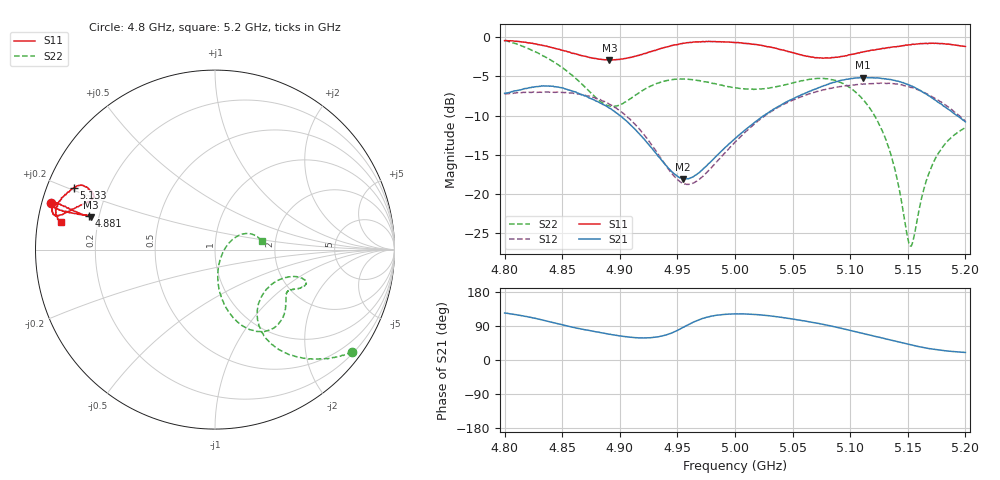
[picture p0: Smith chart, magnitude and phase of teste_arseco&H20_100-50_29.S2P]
! Network Analyzer HP8722D
! Hewlett-Packard
! Data name: Linha & Wilkinson
! Saver's name: Rodrigo Anjos
! Comments: Teste da utilização de aquisição
! continua pelo VNA HP8722D
! Time and date: 6/5/2025 12:48
!  Frequency  S11  S21  S12  S22
# HZ  S  MA R 50
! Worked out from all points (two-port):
!   401 points, 4.8 GHz to 5.2 GHz, reference 50 ohm
!   highest |S21| = -5.15 dB at 5.111 GHz (marker M1); lowest = -18.1 dB at 4.955 GHz (marker M2)
!   |S21| within 3 dB of the highest: start of sweep to 4.88 GHz; 5.046 GHz to 5.175 GHz (128.9 MHz wide, 2.52 % of centre)
!   lowest |S11| = -2.9 dB at 4.891 GHz (marker M3), VSWR 6.01, Z = 8.45 + j6.28 ohm
!   |S11| at or under -10 dB: nowhere
!   |S22| runs from -26.6 to -0.4 dB; largest |S21 - S12| = 0.71
!   S11 on the Smith chart (normalised r, x): 4.8 GHz: 0.03, +0.14; 4.881 GHz: 0.16, +0.13; 5.133 GHz: 0.08, +0.21; 5.2 GHz: 0.07, +0.09
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4.8e9  0.9513 164.3  0.4393 124.0  0.4339 19.1  0.9536 -36.6
4.833e9  0.8861 165.6  0.4884 105.4  0.4457 8.7  0.7631 -51.8
4.867e9  0.7628 165.3  0.4296 81.4  0.4312 -5.2  0.5036 -60.1
4.881e9  0.7263 165.0  0.388 73.8  0.4048 -13.3  0.4017 -53.6
4.891e9  0.7149 165.3  0.3524 67.9  0.3739 -19.4  0.3645 -42.5
4.91e9  0.7442 165.2  0.273 59.9  0.2935 -30.2  0.4091 -23.2
4.934e9  0.84 164.4  0.1723 61.5  0.1767 -32.8  0.5119 -18.2
4.955e9  0.9157 163.8  0.1248 86.2  0.1171 -7.4  0.5418 -20.9
4.97e9  0.9335 164.3  0.1395 107.7  0.1261 18.3  0.5266 -23.4
5e9  0.9261 167.4  0.2259 121.6  0.2145 39.8  0.4754 -28.0
5.033e9  0.8582 166.2  0.3463 115.4  0.3414 36.2  0.4793 -34.3
5.067e9  0.747 158.5  0.4597 99.6  0.4421 21.8  0.5413 -47.8
5.09e9  0.7482 155.5  0.5268 85.5  0.4827 9.2  0.5206 -61.3
5.111e9  0.8054 154.1  0.553 70.0  0.5016 -3.2  0.402 -74.3
5.133e9  0.8596 156.3  0.5401 54.2  0.5087 -17.2  0.2019 -84.5
5.134e9  0.8583 156.4  0.5379 53.6  0.5086 -17.9  0.1919 -84.6
5.141e9  0.8737 158.0  0.5251 48.5  0.5024 -22.9  0.1223 -82.2
5.15e9  0.8911 160.2  0.4986 41.6  0.486 -28.8  0.05221 -48.6
5.153e9  0.8963 160.9  0.489 39.6  0.4781 -30.9  0.04658 -19.0
5.164e9  0.9114 163.8  0.4428 32.6  0.4441 -37.8  0.1079 29.5
5.172e9  0.916 165.6  0.4058 28.6  0.4136 -42.1  0.1575 30.7
5.2e9  0.8727 170.0  0.2887 20.0  0.2919 -52.2  0.2648 10.1
